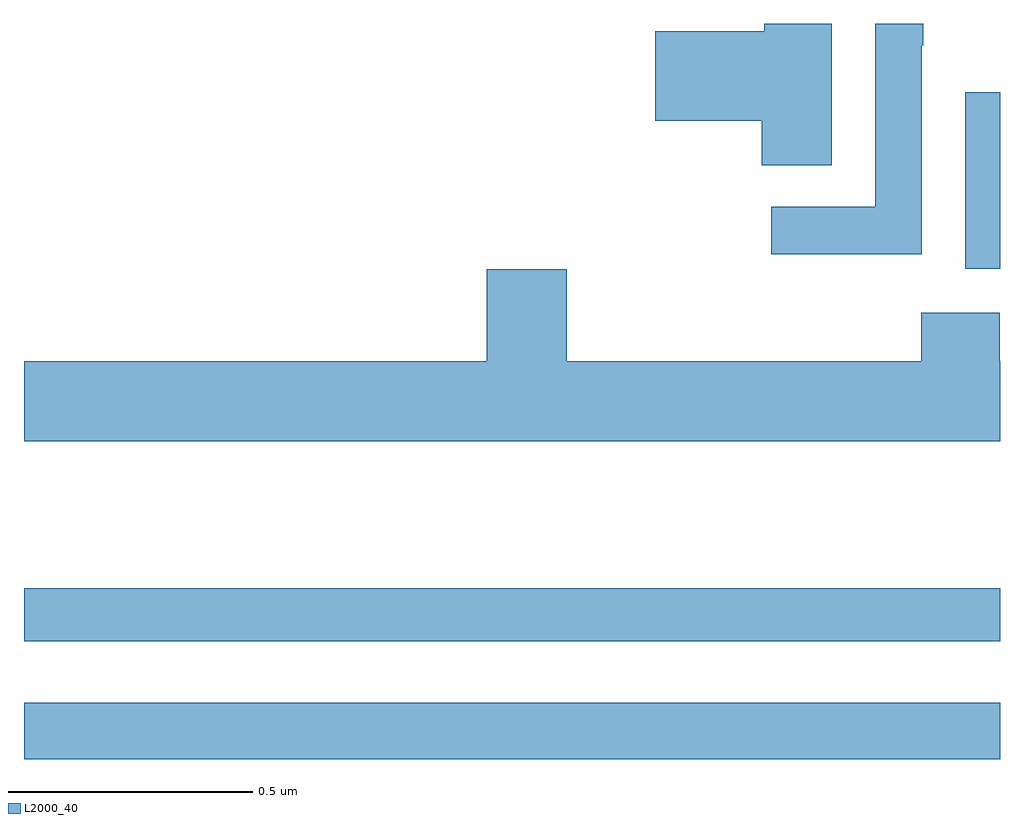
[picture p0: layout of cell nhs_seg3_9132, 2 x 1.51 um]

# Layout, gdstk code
import gdstk
lib = gdstk.Library(unit=1e-6, precision=1e-09)
def R(c, l, rs):  # rectangles x0, y0, x1, y1
    for r in rs: c.add(gdstk.rectangle(r[:2], r[2:], *l))
def P(c, l, *ps):  # polygons
    for p in ps: c.add(gdstk.Polygon(p, *l))
L2000_40 = (2000, 40)

nhs_seg3_9132 = lib.new_cell('nhs_seg3_9132')
R(nhs_seg3_9132, L2000_40, [(224,738.892,226,739.008), (224,739.134,226,739.243), (225.929,739.898,226,740.259)])
P(nhs_seg3_9132, L2000_40, [(225.84,740.356),(225.843,740.356),(225.843,740.4),(225.744,740.4),(225.744,740.025),(225.531,740.025),(225.531,739.927),(225.84,739.927)],
  [(225.655,740.4),(225.517,740.4),(225.517,740.384),(225.294,740.384),(225.294,740.201),(225.512,740.201),(225.512,740.11),(225.655,740.11)],
  [(226,739.708),(225.999,739.708),(225.999,739.807),(225.839,739.807),(225.839,739.708),(225.112,739.708),(225.112,739.897),(224.948,739.897),(224.948,739.708),(224,739.708),(224,739.544),(226,739.544)])

lib.write_gds('nhs_seg3_9132.gds')
